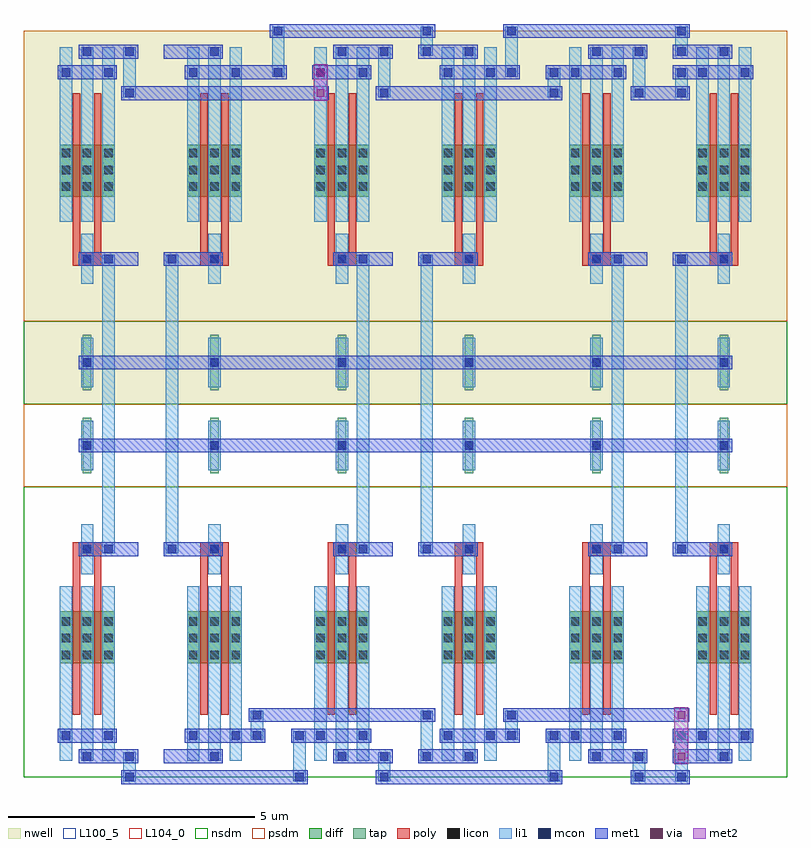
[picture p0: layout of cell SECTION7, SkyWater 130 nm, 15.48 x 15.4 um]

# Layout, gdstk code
import gdstk
lib = gdstk.Library(unit=1e-6, precision=1e-09)
def R(c, l, rs):  # rectangles x0, y0, x1, y1
    for r in rs: c.add(gdstk.rectangle(r[:2], r[2:], *l))
def A(c, l, x, y, w, h, nx, ny, dx, dy):  # array of equal rectangles
    R(c, l, [(x+i*dx, y+j*dy, x+i*dx+w, y+j*dy+h) for i in range(nx) for j in range(ny)])
nwell = (64, 20)
diff = (65, 20)
tap = (65, 44)
poly = (66, 20)
licon = (66, 44)
li1 = (67, 20)
mcon = (67, 44)
met1 = (68, 20)
via = (68, 44)
met2 = (69, 20)
nsdm = (93, 44)
psdm = (94, 20)
L100_5 = (100, 5)
L104_0 = (104, 0)

section7 = lib.new_cell('SECTION7')
A(section7, nwell, 0, 7.56, 2.58, 7.56, 6, 1, 2.58, 0)
A(section7, diff, 0.735, 2.31, 1.11, 1.05, 6, 2, 2.58, 9.45)
A(section7, tap, 1.205, 6.16, 0.17, 1.12, 6, 2, 2.58, 1.68)
A(section7, poly, 1, 4.485, 0.58, 0.27, 6, 2, 2.58, 5.88)
R(section7, poly, [(1,1.26,1.15,4.62), (1.43,1.26,1.58,4.62), (3.58,1.26,3.73,4.62), (4.01,1.26,4.16,4.62), (6.16,1.26,6.31,4.62), (6.59,1.26,6.74,4.62), (8.74,1.26,8.89,4.62), (9.17,1.26,9.32,4.62), (11.32,1.26,11.47,4.62), (11.75,1.26,11.9,4.62), (13.9,1.26,14.05,4.62), (14.33,1.26,14.48,4.62), (1,10.5,1.15,13.86), (1.43,10.5,1.58,13.86), (3.58,10.5,3.73,13.86), (4.01,10.5,4.16,13.86), (6.16,10.5,6.31,13.86), (6.59,10.5,6.74,13.86), (8.74,10.5,8.89,13.86), (9.17,10.5,9.32,13.86), (11.32,10.5,11.47,13.86), (11.75,10.5,11.9,13.86), (13.9,10.5,14.05,13.86), (14.33,10.5,14.48,13.86)])
A(section7, licon, 0.775, 2.39, 0.17, 0.17, 3, 3, 0.43, 0.34)
A(section7, licon, 3.355, 2.39, 0.17, 0.17, 3, 3, 0.43, 0.34)
A(section7, licon, 5.935, 2.39, 0.17, 0.17, 3, 3, 0.43, 0.34)
A(section7, licon, 8.515, 2.39, 0.17, 0.17, 3, 3, 0.43, 0.34)
A(section7, licon, 11.095, 2.39, 0.17, 0.17, 3, 3, 0.43, 0.34)
A(section7, licon, 13.675, 2.39, 0.17, 0.17, 3, 3, 0.43, 0.34)
A(section7, licon, 1.205, 4.535, 0.17, 0.17, 6, 2, 2.58, 2.1)
A(section7, licon, 1.205, 8.315, 0.17, 0.17, 6, 2, 2.58, 2.1)
A(section7, licon, 0.775, 11.88, 0.17, 0.17, 3, 3, 0.43, 0.34)
A(section7, licon, 3.355, 11.88, 0.17, 0.17, 3, 3, 0.43, 0.34)
A(section7, licon, 5.935, 11.88, 0.17, 0.17, 3, 3, 0.43, 0.34)
A(section7, licon, 8.515, 11.88, 0.17, 0.17, 3, 3, 0.43, 0.34)
A(section7, licon, 11.095, 11.88, 0.17, 0.17, 3, 3, 0.43, 0.34)
A(section7, licon, 13.675, 11.88, 0.17, 0.17, 3, 3, 0.43, 0.34)
A(section7, li1, 2.025, -0.085, 0.25, 0.59, 3, 1, 5.16, 0)
A(section7, li1, 0.735, 0.335, 0.25, 3.53, 3, 2, 0.43, 10.92)
A(section7, li1, 3.315, 0.335, 0.25, 3.53, 3, 2, 0.43, 10.92)
A(section7, li1, 5.895, 0.335, 0.25, 3.53, 3, 2, 0.43, 10.92)
A(section7, li1, 8.475, 0.335, 0.25, 3.53, 3, 2, 0.43, 10.92)
A(section7, li1, 11.055, 0.335, 0.25, 3.53, 3, 2, 0.43, 10.92)
A(section7, li1, 13.635, 0.335, 0.25, 3.53, 3, 2, 0.43, 10.92)
A(section7, li1, 1.165, 4.115, 0.25, 1.01, 6, 2, 2.58, 2.1)
A(section7, li1, 1.165, 7.895, 0.25, 1.01, 6, 2, 2.58, 2.1)
A(section7, li1, 2.025, 13.775, 0.25, 1.01, 3, 1, 5.16, 0)
R(section7, li1, [(5.465,-0.085,5.715,0.925), (10.625,-0.085,10.875,0.925), (13.205,-0.085,13.455,0.925), (8.045,0.335,8.295,1.345), (4.605,0.755,4.855,1.345), (9.765,0.755,10.015,1.345), (1.595,4.535,1.845,10.585), (2.885,4.535,3.135,10.585), (6.755,4.535,7.005,10.585), (8.045,4.535,8.295,10.585), (11.915,4.535,12.165,10.585), (13.205,4.535,13.455,10.585), (10.625,13.775,10.875,14.365), (13.205,13.775,13.455,14.365), (5.035,14.195,5.285,15.205), (9.765,14.195,10.015,15.205), (8.045,14.615,8.295,15.205), (13.205,14.615,13.455,15.205)])
A(section7, mcon, 6.365, 0.335, 0.17, 0.17, 4, 2, 0.86, 14.28)
A(section7, mcon, 1.205, 6.635, 0.17, 0.17, 6, 2, 2.58, 1.68)
A(section7, mcon, 3.355, 14.195, 0.17, 0.17, 5, 1, 0.86, 0)
A(section7, mcon, 11.525, 14.615, 0.17, 0.17, 4, 1, 0.86, 0)
R(section7, mcon, [(2.065,-0.085,2.235,0.085), (5.505,-0.085,5.675,0.085), (7.225,-0.085,7.395,0.085), (10.665,-0.085,10.835,0.085), (12.385,-0.085,12.555,0.085), (13.245,-0.085,13.415,0.085), (1.205,0.335,1.375,0.505), (2.065,0.335,2.235,0.505), (3.785,0.335,3.955,0.505), (11.525,0.335,11.695,0.505), (12.385,0.335,12.555,0.505), (14.105,0.335,14.275,0.505), (0.775,0.755,0.945,0.925), (1.635,0.755,1.805,0.925), (3.355,0.755,3.525,0.925), (4.215,0.755,4.385,0.925), (4.645,0.755,4.815,0.925), (5.505,0.755,5.675,0.925), (5.935,0.755,6.105,0.925), (6.795,0.755,6.965,0.925), (8.515,0.755,8.685,0.925), (9.375,0.755,9.545,0.925), (9.805,0.755,9.975,0.925), (10.665,0.755,10.835,0.925), (11.095,0.755,11.265,0.925), (11.955,0.755,12.125,0.925), (13.245,0.755,13.415,0.925), (13.675,0.755,13.845,0.925), (14.535,0.755,14.705,0.925), (4.645,1.175,4.815,1.345), (8.085,1.175,8.255,1.345), (9.805,1.175,9.975,1.345), (1.205,4.535,1.375,4.705), (1.635,4.535,1.805,4.705), (2.925,4.535,3.095,4.705), (3.785,4.535,3.955,4.705), (6.365,4.535,6.535,4.705), (6.795,4.535,6.965,4.705), (8.085,4.535,8.255,4.705), (8.945,4.535,9.115,4.705), (11.525,4.535,11.695,4.705), (11.955,4.535,12.125,4.705), (13.245,4.535,13.415,4.705), (14.105,4.535,14.275,4.705), (1.205,10.415,1.375,10.585), (1.635,10.415,1.805,10.585), (2.925,10.415,3.095,10.585), (3.785,10.415,3.955,10.585), (6.365,10.415,6.535,10.585), (6.795,10.415,6.965,10.585), (8.085,10.415,8.255,10.585), (8.945,10.415,9.115,10.585), (11.525,10.415,11.695,10.585), (11.955,10.415,12.125,10.585), (13.245,10.415,13.415,10.585), (14.105,10.415,14.275,10.585), (2.065,13.775,2.235,13.945), (7.225,13.775,7.395,13.945), (10.665,13.775,10.835,13.945), (12.385,13.775,12.555,13.945), (13.245,13.775,13.415,13.945), (0.775,14.195,0.945,14.365), (1.635,14.195,1.805,14.365), (8.515,14.195,8.685,14.365), (9.375,14.195,9.545,14.365), (9.805,14.195,9.975,14.365), (10.665,14.195,10.835,14.365), (11.095,14.195,11.265,14.365), (11.955,14.195,12.125,14.365), (13.245,14.195,13.415,14.365), (13.675,14.195,13.845,14.365), (14.535,14.195,14.705,14.365), (1.205,14.615,1.375,14.785), (2.065,14.615,2.235,14.785), (3.785,14.615,3.955,14.785), (5.075,15.035,5.245,15.205), (8.085,15.035,8.255,15.205), (9.805,15.035,9.975,15.205), (13.245,15.035,13.415,15.205)])
R(section7, met1, [(1.98,-0.14,5.76,0.14), (7.14,-0.14,10.92,0.14), (12.3,-0.14,13.5,0.14), (1.12,0.28,2.32,0.56), (2.84,0.28,4.04,0.56), (6.28,0.28,7.48,0.56), (8,0.28,9.2,0.56), (11.44,0.28,12.64,0.56), (13.16,0.28,14.36,0.56), (0.69,0.7,1.89,0.98), (3.27,0.7,4.9,0.98), (5.42,0.7,7.05,0.98), (8.43,0.7,10.06,0.98), (10.58,0.7,12.21,0.98), (13.16,0.7,14.79,0.98), (4.56,1.12,8.34,1.4), (9.72,1.12,13.49,1.4), (1.12,4.48,2.32,4.76), (2.84,4.48,4.04,4.76), (6.28,4.48,7.48,4.76), (8,4.48,9.2,4.76), (11.44,4.48,12.64,4.76), (13.16,4.48,14.36,4.76), (1.12,6.58,14.36,6.86), (1.12,8.26,14.36,8.54), (1.12,10.36,2.32,10.64), (2.84,10.36,4.04,10.64), (6.28,10.36,7.48,10.64), (8,10.36,9.2,10.64), (11.44,10.36,12.64,10.64), (13.16,10.36,14.36,10.64), (1.98,13.72,6.18,14), (7.14,13.72,10.92,14), (12.3,13.72,13.5,14), (0.69,14.14,1.89,14.42), (3.27,14.14,5.33,14.42), (5.85,14.14,7.05,14.42), (8.43,14.14,10.06,14.42), (10.58,14.14,12.21,14.42), (13.16,14.14,14.79,14.42), (1.12,14.56,2.32,14.84), (2.84,14.56,4.04,14.84), (6.28,14.56,7.48,14.84), (8,14.56,9.2,14.84), (11.44,14.56,12.64,14.84), (13.16,14.56,14.36,14.84), (4.99,14.98,8.34,15.26), (9.72,14.98,13.5,15.26)])
R(section7, via, [(13.255,0.345,13.405,0.495), (13.255,1.185,13.405,1.335), (5.945,13.785,6.095,13.935), (5.945,14.205,6.095,14.355)])
R(section7, met2, [(13.19,0.26,13.47,1.42), (5.88,13.7,6.16,14.44)])
A(section7, nsdm, 0, 0, 2.58, 5.88, 6, 1, 2.58, 0)
A(section7, nsdm, 0, 7.56, 2.58, 1.68, 6, 1, 2.58, 0)
A(section7, psdm, 0, 5.88, 2.58, 1.68, 6, 1, 2.58, 0)
A(section7, psdm, 0, 9.24, 2.58, 5.88, 6, 1, 2.58, 0)
R(section7, L100_5, [(0,0,15.48,15.12)])
R(section7, L104_0, [(0,0,15.48,15.12)])

lib.write_gds('SECTION7.gds')
